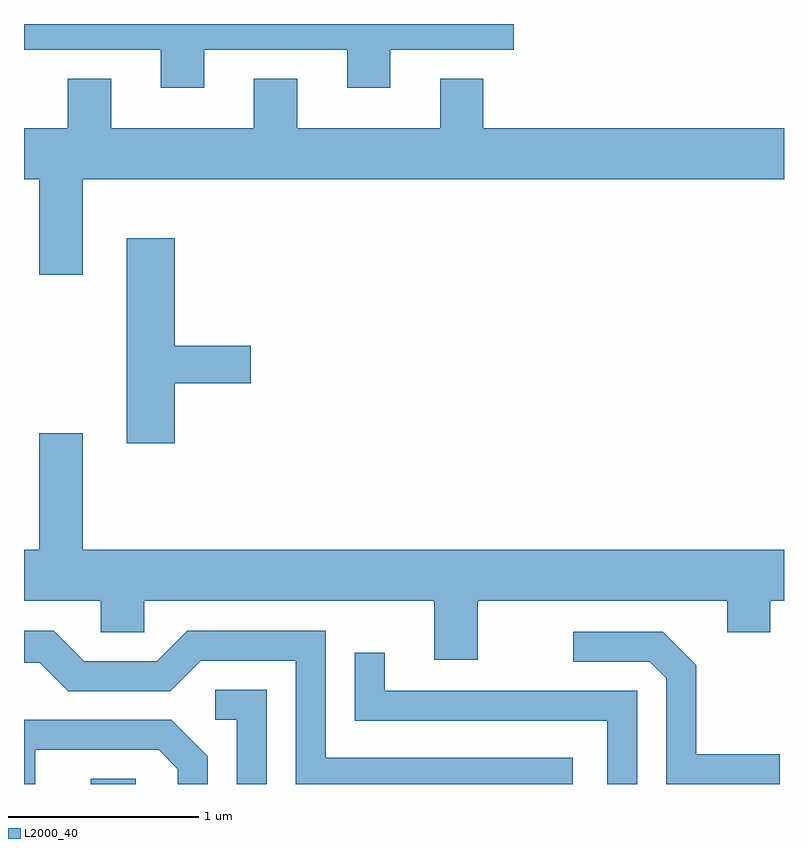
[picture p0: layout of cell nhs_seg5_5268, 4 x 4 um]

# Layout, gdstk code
import gdstk
lib = gdstk.Library(unit=1e-6, precision=1e-09)
def R(c, l, rs):  # rectangles x0, y0, x1, y1
    for r in rs: c.add(gdstk.rectangle(r[:2], r[2:], *l))
def P(c, l, *ps):  # polygons
    for p in ps: c.add(gdstk.Polygon(p, *l))
L2000_40 = (2000, 40)

nhs_seg5_5268 = lib.new_cell('nhs_seg5_5268')
R(nhs_seg5_5268, L2000_40, [(341.961,1438.072,342.199,1438.099)])
P(nhs_seg5_5268, L2000_40, [(342.559,1441.936),(343.311,1441.936),(343.311,1441.736),(343.539,1441.736),(343.539,1441.936),(344.189,1441.936),(344.189,1442.072),(341.611,1442.072),(341.611,1441.936),(342.331,1441.936),(342.331,1441.736),(342.559,1441.736)],
  [(341.919,1441.256),(345.611,1441.256),(345.611,1441.524),(344.029,1441.524),(344.029,1441.784),(343.801,1441.784),(343.801,1441.524),(343.049,1441.524),(343.049,1441.784),(342.821,1441.784),(342.821,1441.524),(342.069,1441.524),(342.069,1441.784),(341.841,1441.784),(341.841,1441.524),(341.611,1441.524),(341.611,1441.256),(341.691,1441.256),(341.691,1440.751),(341.919,1440.751)],
  [(342.404,1440.181),(342.804,1440.181),(342.804,1440.379),(342.404,1440.379),(342.404,1440.944),(342.151,1440.944),(342.151,1439.866),(342.404,1439.866)],
  [(343.999,1439.036),(345.311,1439.036),(345.311,1438.871),(345.539,1438.871),(345.539,1439.036),(345.611,1439.036),(345.611,1439.304),(341.919,1439.304),(341.919,1439.919),(341.691,1439.919),(341.691,1439.304),(341.611,1439.304),(341.611,1439.036),(342.016,1439.036),(342.016,1438.871),(342.244,1438.871),(342.244,1439.036),(343.771,1439.036),(343.771,1438.726),(343.999,1438.726)],
  [(344.499,1438.209),(343.199,1438.209),(343.199,1438.879),(342.469,1438.879),(342.309,1438.719),(341.927,1438.719),(341.767,1438.879),(341.611,1438.879),(341.611,1438.711),(341.694,1438.711),(341.844,1438.561),(342.382,1438.561),(342.542,1438.721),(343.041,1438.721),(343.041,1438.072),(344.499,1438.072)],
  [(345.589,1438.229),(345.149,1438.229),(345.149,1438.697),(344.972,1438.874),(344.503,1438.874),(344.503,1438.716),(344.904,1438.716),(344.991,1438.629),(344.991,1438.072),(345.589,1438.072)],
  [(344.839,1438.564),(343.509,1438.564),(343.509,1438.763),(343.351,1438.763),(343.351,1438.406),(344.681,1438.406),(344.681,1438.072),(344.839,1438.072)],
  [(342.889,1438.569),(342.618,1438.569),(342.618,1438.411),(342.731,1438.411),(342.731,1438.072),(342.889,1438.072)],
  [(341.669,1438.251),(342.319,1438.251),(342.421,1438.149),(342.421,1438.072),(342.579,1438.072),(342.579,1438.217),(342.387,1438.409),(341.611,1438.409),(341.611,1438.072),(341.669,1438.072)])

lib.write_gds('nhs_seg5_5268.gds')
